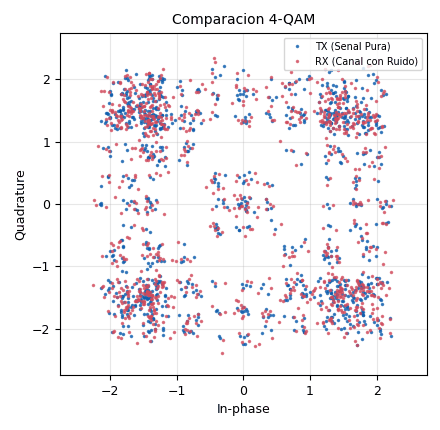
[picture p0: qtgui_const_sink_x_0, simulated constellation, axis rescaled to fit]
options:
  parameters:
    author: Juan Gerez Jimenez
    generate_options: qt_gui
    id: integrador_2026
    output_language: python
    title: integrador_2026
  states: {}

blocks:
- name: hdr_format
  id: variable_header_format_default
  parameters:
    access_code: '''1010101011110101'''
    bps: '8'
    threshold: '0'
  states: {}
- name: noise_var
  id: variable_qtgui_range
  parameters:
    label: Nivel de Ruido
    start: '0'
    step: '0.05'
    stop: '1'
    value: '0.1'
  states: {}
- name: qam4
  id: variable_constellation
  parameters:
    precision: '8'
    type: qpsk
  states: {}
- name: samp_rate
  id: variable
  parameters:
    value: '32000'
  states: {}
- name: blocks_message_strobe_0
  id: blocks_message_strobe
  parameters:
    msg: pmt.intern("TEST")
    period: '100'
  states: {}
- name: blocks_tagged_stream_mux_0
  id: blocks_tagged_stream_mux
  parameters:
    lengthtagname: '"packet_len"'
    ninputs: '2'
    type: byte
  states: {}
- name: channels_channel_model_0
  id: channels_channel_model
  parameters:
    epsilon: '1.0'
    freq_offset: '0.0'
    noise_voltage: noise_var
    seed: '0'
    taps: '1.0'
  states: {}
- name: digital_constellation_modulator_0
  id: digital_constellation_modulator
  parameters:
    constellation: qam4
    differential: 'False'
    excess_bw: '0.35'
    samples_per_symbol: '4'
  states: {}
- name: digital_crc32_bb_0
  id: digital_crc32_bb
  parameters:
    check: 'False'
    lengthtagname: '"packet_len"'
    packed: 'True'
  states: {}
- name: digital_packet_headergenerator_bb_default_0
  id: digital_packet_headergenerator_bb_default
  parameters:
    header_len: '32'
    len_tag_key: '"packet_len"'
  states: {}
- name: pdu_pdu_to_tagged_stream_0
  id: pdu_pdu_to_tagged_stream
  parameters:
    tag: '"packet_len"'
    type: byte
  states: {}
- name: pdu_random_pdu_0
  id: pdu_random_pdu
  parameters:
    length_modulo: '1'
    mask: '0xFF'
    maxsize: '100'
    minsize: '100'
  states: {}
- name: qtgui_const_sink_x_0
  id: qtgui_const_sink_x
  parameters:
    label1: TX (Senal Pura)
    label2: RX (Canal con Ruido)
    name: '"Comparacion 4-QAM"'
    nconnections: '2'
    size: '1024'
    type: complex
  states: {}

connections:
- [blocks_message_strobe_0, strobe, pdu_random_pdu_0, generate]
- [blocks_tagged_stream_mux_0, '0', digital_constellation_modulator_0, '0']
- [channels_channel_model_0, '0', qtgui_const_sink_x_0, '1']
- [digital_constellation_modulator_0, '0', channels_channel_model_0, '0']
- [digital_constellation_modulator_0, '0', qtgui_const_sink_x_0, '0']
- [digital_crc32_bb_0, '0', blocks_tagged_stream_mux_0, '1']
- [digital_crc32_bb_0, '0', digital_packet_headergenerator_bb_default_0, '0']
- [digital_packet_headergenerator_bb_default_0, '0', blocks_tagged_stream_mux_0, '0']
- [pdu_pdu_to_tagged_stream_0, '0', digital_crc32_bb_0, '0']
- [pdu_random_pdu_0, pdus, pdu_pdu_to_tagged_stream_0, pdus]

metadata:
  file_format: 1
  grc_version: 3.10.12.0
